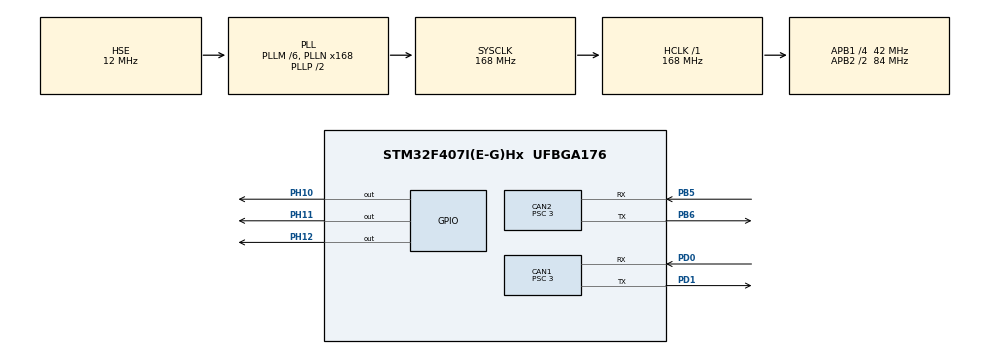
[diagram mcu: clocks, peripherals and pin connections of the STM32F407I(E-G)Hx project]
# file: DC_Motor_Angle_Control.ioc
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CAN1.BS1=CAN_BS1_10TQ
CAN1.BS2=CAN_BS2_3TQ
CAN1.CalculateTimeQuantum=71.42857142857143
CAN1.Prescaler=3
CAN2.BS1=CAN_BS1_10TQ
CAN2.BS2=CAN_BS2_3TQ
CAN2.CalculateTimeQuantum=71.42857142857143
CAN2.Prescaler=3
Mcu.Family=STM32F4
Mcu.Name=STM32F407I(E-G)Hx
Mcu.Package=UFBGA176
NVIC.CAN1_RX0_IRQn=true\:0\:0\:false\:false\:true\:true\:true
NVIC.CAN2_RX0_IRQn=true\:0\:0\:false\:false\:true\:true\:true
NVIC.PriorityGroup=NVIC_PRIORITYGROUP_4
PA13.Mode=Serial_Wire
PA13.Signal=SYS_JTMS-SWDIO
PA14.Mode=Serial_Wire
PA14.Signal=SYS_JTCK-SWCLK
PB5.Mode=Slave
PB5.Signal=CAN2_RX
PB6.Mode=Slave
PB6.Signal=CAN2_TX
PD0.Mode=Master
PD0.Signal=CAN1_RX
PD1.Mode=Master
PD1.Signal=CAN1_TX
PH0-OSC_IN.Mode=HSE-External-Oscillator
PH0-OSC_IN.Signal=RCC_OSC_IN
PH1-OSC_OUT.Mode=HSE-External-Oscillator
PH1-OSC_OUT.Signal=RCC_OSC_OUT
PH10.Signal=GPIO_Output
PH11.Signal=GPIO_Output
PH12.Signal=GPIO_Output
ProjectManager.HeapSize=0x200
ProjectManager.StackSize=0x400
ProjectManager.TargetToolchain=MDK-ARM V5
RCC.48MHZClocksFreq_Value=84000000
RCC.AHBFreq_Value=168000000
RCC.APB1CLKDivider=RCC_HCLK_DIV4
RCC.APB1Freq_Value=42000000
RCC.APB1TimFreq_Value=84000000
RCC.APB2CLKDivider=RCC_HCLK_DIV2
RCC.APB2Freq_Value=84000000
RCC.APB2TimFreq_Value=168000000
RCC.CortexFreq_Value=168000000
RCC.HCLKFreq_Value=168000000
RCC.HSE_VALUE=12000000
RCC.HSI_VALUE=16000000
RCC.LSE_VALUE=32768
RCC.PLLM=6
RCC.PLLN=168
RCC.PLLSourceVirtual=RCC_PLLSOURCE_HSE
RCC.SYSCLKFreq_VALUE=168000000
RCC.SYSCLKSource=RCC_SYSCLKSOURCE_PLLCLK
RCC.VCOOutputFreq_Value=336000000
board=custom

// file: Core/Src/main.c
/* USER CODE BEGIN Header */
/**
  ******************************************************************************
  * @file           : main.c
  * @brief          : Main program body
  ******************************************************************************
  * @attention
  *
  * <h2><center>&copy; Copyright (c) 2020 STMicroelectronics.
  * All rights reserved.</center></h2>
  *
  * This software component is licensed by ST under BSD 3-Clause license,
  * the "License"; You may not use this file except in compliance with the
  * License. You may obtain a copy of the License at:
  *                        opensource.org/licenses/BSD-3-Clause
  *
  ******************************************************************************
  */
/* USER CODE END Header */
#include "main.h"
#include "can.h"
#include "gpio.h"

/* USER CODE BEGIN Includes */

#include "bsp_can.h"
#include "CAN_receive.h"

/* USER CODE END Includes */

void SystemClock_Config(void);

/* USER CODE BEGIN 0 */
		uint16_t initialAngle;
		uint16_t offsetAngle;
		uint16_t targetAngle;
		uint16_t currentAngle;
		uint16_t initialIndex;
		uint16_t breakIndex;
/* USER CODE END 0 */

int main(void)
{

  /* MCU Configuration--------------------------------------------------------*/

  /* Reset of all peripherals, Initializes the Flash interface and the Systick. */
  HAL_Init();

  /* Configure the system clock */
  SystemClock_Config();

  /* Initialize all configured peripherals */
  MX_GPIO_Init();
  MX_CAN1_Init();
  MX_CAN2_Init();
  /* USER CODE BEGIN 2 */
	can_filter_init();
	HAL_CAN_RxFifo0MsgPendingCallback(&hcan2);
	HAL_CAN_RxFifo0MsgPendingCallback(&hcan2);

	initialIndex = 0;
	breakIndex = 0;

	HAL_GPIO_WritePin(GPIOH, GPIO_PIN_12|GPIO_PIN_11, GPIO_PIN_SET);
	HAL_Delay(1000);
	HAL_GPIO_WritePin(GPIOH, GPIO_PIN_12|GPIO_PIN_11, GPIO_PIN_RESET);
	HAL_Delay(1000);

  /* USER CODE END 2 */

  /* Infinite loop */
  /* USER CODE BEGIN WHILE */

  while (breakIndex < 51)
  {
		CAN_cmd_gimbal(0,3000,0,0);
		HAL_Delay(1);
		HAL_CAN_RxFifo0MsgPendingCallback(&hcan2);
		currentAngle = get_pitch_gimbal_motor_measure_point() -> ecd;
		if(initialIndex == 0)
		{
				initialAngle = currentAngle;
				offsetAngle = + 2048;
				targetAngle = initialAngle + offsetAngle;
				initialIndex++;
		}

		if(targetAngle > 8191 && currentAngle < initialAngle)
		{
			targetAngle -= 8191;
		}

		if(currentAngle >= targetAngle)
		{
			CAN_cmd_gimbal(0, 0, 0, 0);

			HAL_GPIO_WritePin(GPIOH, GPIO_PIN_12|GPIO_PIN_11|GPIO_PIN_10, GPIO_PIN_SET);
			HAL_Delay(500);
			HAL_GPIO_WritePin(GPIOH, GPIO_PIN_12|GPIO_PIN_11|GPIO_PIN_10, GPIO_PIN_RESET);
			targetAngle += offsetAngle;
			breakIndex ++;
		}

    /* USER CODE END WHILE */

  }
}

void SystemClock_Config(void)
{
  RCC_OscInitTypeDef RCC_OscInitStruct = {0};
  RCC_ClkInitTypeDef RCC_ClkInitStruct = {0};

  /** Configure the main internal regulator output voltage
  */
  __HAL_RCC_PWR_CLK_ENABLE();
  __HAL_PWR_VOLTAGESCALING_CONFIG(PWR_REGULATOR_VOLTAGE_SCALE1);
  /** Initializes the RCC Oscillators according to the specified parameters
  * in the RCC_OscInitTypeDef structure.
  */
  RCC_OscInitStruct.OscillatorType = RCC_OSCILLATORTYPE_HSE;
  RCC_OscInitStruct.HSEState = RCC_HSE_ON;
  RCC_OscInitStruct.PLL.PLLState = RCC_PLL_ON;
  RCC_OscInitStruct.PLL.PLLSource = RCC_PLLSOURCE_HSE;
  RCC_OscInitStruct.PLL.PLLM = 6;
  RCC_OscInitStruct.PLL.PLLN = 168;
  RCC_OscInitStruct.PLL.PLLP = RCC_PLLP_DIV2;
  RCC_OscInitStruct.PLL.PLLQ = 4;
  if (HAL_RCC_OscConfig(&RCC_OscInitStruct) != HAL_OK)
  {
    Error_Handler();
  }
  /** Initializes the CPU, AHB and APB buses clocks
  */
  RCC_ClkInitStruct.ClockType = RCC_CLOCKTYPE_HCLK|RCC_CLOCKTYPE_SYSCLK
                              |RCC_CLOCKTYPE_PCLK1|RCC_CLOCKTYPE_PCLK2;
  RCC_ClkInitStruct.SYSCLKSource = RCC_SYSCLKSOURCE_PLLCLK;
  RCC_ClkInitStruct.AHBCLKDivider = RCC_SYSCLK_DIV1;
  RCC_ClkInitStruct.APB1CLKDivider = RCC_HCLK_DIV4;
  RCC_ClkInitStruct.APB2CLKDivider = RCC_HCLK_DIV2;

  if (HAL_RCC_ClockConfig(&RCC_ClkInitStruct, FLASH_LATENCY_5) != HAL_OK)
  {
    Error_Handler();
  }
}

void Error_Handler(void)
{
}

/************************ (C) COPYRIGHT STMicroelectronics *****END OF FILE****/
